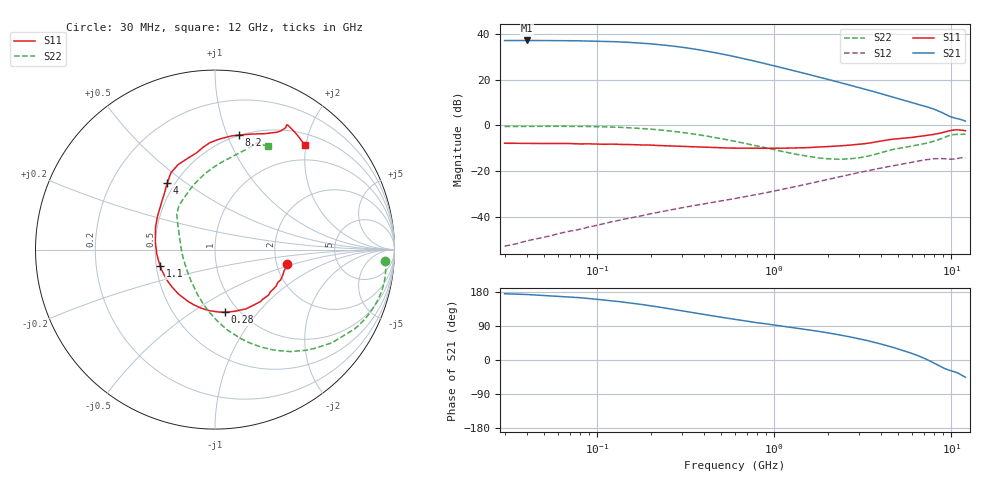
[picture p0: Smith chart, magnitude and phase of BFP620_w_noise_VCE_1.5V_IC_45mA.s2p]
! Infineon Technologies  Discrete & RF Semiconductors
! BFP620
! VCE =  1.5 V,  IC =  45 mA
! Common Emitter S-Parameters:  Nov 2015
# GHz  S  MA  R  50
!  f  S11  S21  S12  S22
! GHz  MAG  ANG  MAG  ANG  MAG  ANG  MAG  ANG
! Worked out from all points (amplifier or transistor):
!   239 points, 30 MHz to 12 GHz, reference 50 ohm
!   highest |S21| = 37.2 dB at 40 MHz (marker M1)
!   |S21| within 3 dB of that: start of sweep to 303.4 MHz
!   unconditionally stable (mu >= 1): 2.102 GHz to end of sweep
!   at 300 MHz: K = 0.45, MSG = 35.1 dB, |S12| = -36.0 dB
!   at 1.88 GHz: K = 0.99, MSG = 22.4 dB, |S12| = -24.1 dB
!   at 12 GHz: K = 1.08, MAG = 6.2 dB, |S12| = -14.1 dB
!   lowest NFmin = 1.42 dB at 450 MHz
!   S11 on the Smith chart (normalised r, x): 30 MHz: 2.28, -0.43; 280 MHz: 0.86, -0.68; 1.1 GHz: 0.52, -0.11; 4 GHz: 0.45, +0.43; 8.2 GHz: 0.50, +1.10; 12 GHz: 0.70, +1.99
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0.03  0.4086 -11.0  71.81 174.9  0.0023 96.4  0.9501 -3.7
0.04  0.407 -14.7  72.14 172.9  0.003 93.2  0.9567 -6.0
0.07  0.4028 -24.9  71.48 166.5  0.0049 85.1  0.9583 -13.0
0.085  0.3956 -29.2  70.48 163.3  0.0057 83.2  0.9513 -16.4
0.115  0.3896 -38.8  68.64 157.3  0.0075 79.5  0.9289 -22.8
0.14  0.3839 -46.3  66.52 152.8  0.0089 76.9  0.9042 -27.9
0.185  0.374 -58.4  62.22 145.5  0.011 73.2  0.8483 -35.9
0.2  0.3726 -62.4  60.94 142.9  0.0117 72.2  0.8322 -38.7
0.24  0.3608 -72.2  56.92 137.3  0.0135 70.4  0.7805 -44.9
0.28  0.3517 -81.3  53.16 132.3  0.0151 68.8  0.7312 -50.5
0.34  0.3427 -93.5  47.92 125.6  0.0173 66.6  0.6621 -58.1
0.4  0.3352 -103.5  43.25 120.0  0.0193 65.3  0.6007 -64.7
0.5  0.3252 -117.8  36.76 112.6  0.0224 64.0  0.5159 -73.9
0.6  0.3203 -129.2  31.78 107.0  0.0253 63.3  0.4503 -81.6
0.8  0.3169 -146.2  24.67 98.4  0.031 62.6  0.3554 -94.3
1.1  0.3184 -163.6  18.31 89.5  0.0397 61.5  0.2728 -110.2
1.64  0.3318 175.7  12.44 78.0  0.0555 58.2  0.2043 -135.5
2.4  0.3602 155.0  8.481 65.1  0.0771 51.4  0.1834 -169.5
4  0.457 125.6  4.947 42.0  0.1176 34.6  0.2547 144.8
4.5  0.494 119.7  4.342 35.4  0.1282 29.4  0.2905 137.2
8.2  0.6512 78.3  2.176 -10.9  0.1879 -10.3  0.4678 89.2
12  0.7676 49.1  1.243 -45.4  0.1974 -40.6  0.6468 63.0
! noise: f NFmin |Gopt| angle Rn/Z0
0.45  1.42  0.26  -165  0.1
0.9  1.43  0.29  -153  0.1
1.9  1.44  0.33  -138  0.12
2.4  1.45  0.33  -136  0.13
3.5  1.5  0.39  -104  0.21
5.5  1.79  0.41  -85  0.29
10  2.1  0.65  -43  1.14
